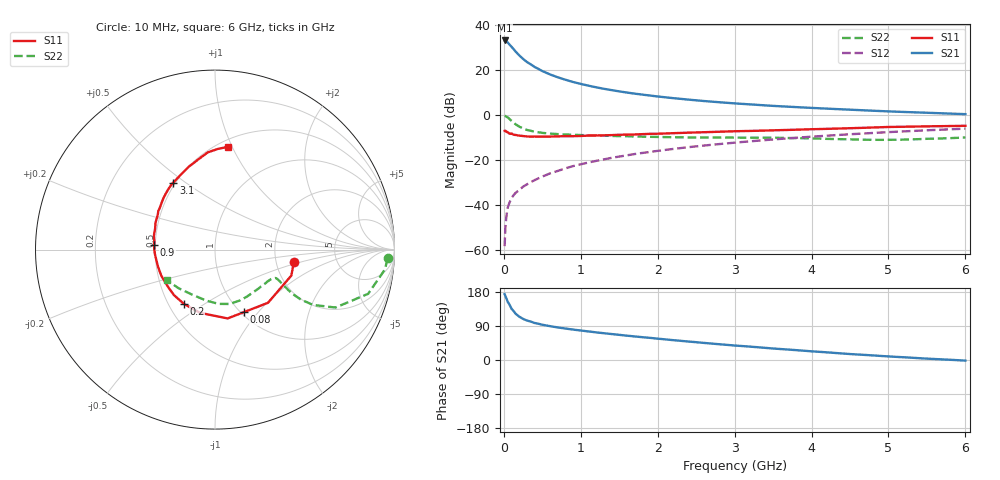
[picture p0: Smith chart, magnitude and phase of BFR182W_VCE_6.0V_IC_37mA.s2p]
! Infineon Technologies  Discrete & RF Semiconductors
! BFR182W
! VCE =  6.0 V,  IC =  37 mA
! Common Emitter S-Parameters:  Jan 2017
# GHz  S  MA  R  50
!  f  S11  S21  S12  S22
! GHz  MAG  ANG  MAG  ANG  MAG  ANG  MAG  ANG
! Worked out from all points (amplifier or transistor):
!   77 points, 10 MHz to 6 GHz, reference 50 ohm
!   highest |S21| = 33.3 dB at 10 MHz (marker M1)
!   |S21| within 3 dB of that: start of sweep to 105.2 MHz
!   unconditionally stable (mu >= 1): 557.8 MHz to 2.202 GHz
!   at 130 MHz: K = 0.55, MSG = 32.4 dB, |S12| = -35.5 dB
!   at 2.2 GHz: K = 1.00, MAG = 11.3 dB, |S12| = -15.1 dB
!   at 6 GHz: K = 0.86, MSG = 3.2 dB, |S12| = -6.1 dB
!   S11 on the Smith chart (normalised r, x): 10 MHz: 2.51, -0.45; 80 MHz: 1.03, -0.84; 200 MHz: 0.60, -0.41; 900 MHz: 0.49, +0.03; 3.1 GHz: 0.49, +0.45; 6 GHz: 0.56, +0.96
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0.01  0.4451 -9.2  46.01 173.9  0.0012 86.0  0.9635 -2.9
0.02  0.4491 -18.8  45.81 168.9  0.0031 94.4  0.9529 -6.7
0.05  0.4184 -45.1  41.71 153.8  0.0086 75.7  0.8883 -16.1
0.08  0.3838 -65.3  36.21 143.5  0.0119 71.1  0.8001 -21.4
0.1  0.39 -79.6  33.37 135.0  0.0142 69.2  0.7459 -25.6
0.15  0.3619 -103.5  26.4 122.7  0.0183 66.3  0.6293 -29.4
0.2  0.3486 -119.7  21.41 114.5  0.0215 66.4  0.5534 -30.2
0.25  0.3415 -132.0  17.88 108.4  0.0254 67.0  0.5022 -29.8
0.3  0.3343 -141.1  15.24 104.2  0.0286 67.7  0.4669 -28.9
0.4  0.3328 -153.9  11.81 97.7  0.0355 70.3  0.4255 -27.2
0.5  0.3315 -163.3  9.573 93.1  0.0426 72.1  0.4017 -26.1
0.6  0.3321 -170.0  8.067 89.3  0.0501 72.1  0.387 -25.4
0.7  0.3357 -175.8  6.958 86.0  0.0569 74.1  0.377 -25.1
0.9  0.3393 175.2  5.462 80.3  0.073 74.0  0.3642 -25.9
1.1  0.349 167.5  4.522 75.4  0.0879 74.0  0.3549 -27.4
1.3  0.3534 160.8  3.855 70.7  0.103 73.8  0.3476 -29.5
1.5  0.3641 155.7  3.373 66.4  0.1191 73.0  0.3401 -32.4
2.1  0.3894 141.2  2.491 54.4  0.1677 69.5  0.3232 -43.5
3.1  0.4397 121.9  1.777 36.8  0.2514 62.0  0.3141 -66.1
4.1  0.4886 106.2  1.419 21.6  0.339 52.9  0.299 -88.7
5.1  0.5464 93.0  1.191 8.3  0.4253 42.7  0.2822 -120.2
6  0.577 82.9  1.049 -1.6  0.4983 33.1  0.317 -147.6
